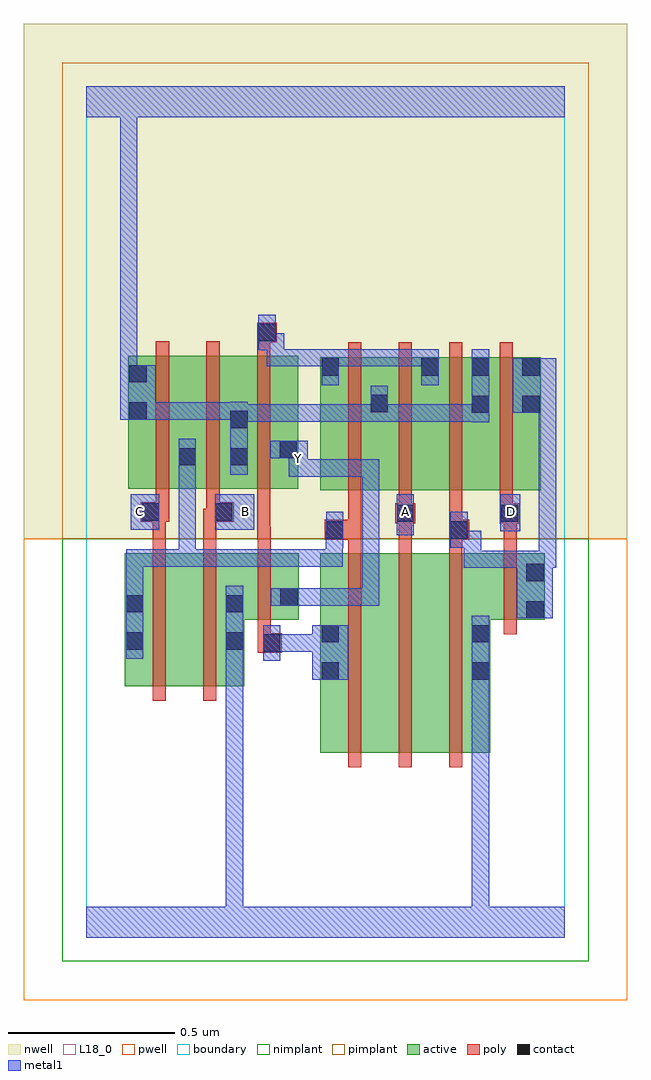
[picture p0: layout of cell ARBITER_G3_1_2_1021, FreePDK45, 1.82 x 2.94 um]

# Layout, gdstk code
import gdstk
lib = gdstk.Library(unit=1e-6, precision=1e-09)
def R(c, l, rs):  # rectangles x0, y0, x1, y1
    for r in rs: c.add(gdstk.rectangle(r[:2], r[2:], *l))
def A(c, l, x, y, w, h, nx, ny, dx, dy):  # array of equal rectangles
    R(c, l, [(x+i*dx, y+j*dy, x+i*dx+w, y+j*dy+h) for i in range(nx) for j in range(ny)])
active = (1, 0)
pwell = (2, 0)
nwell = (3, 0)
nimplant = (4, 0)
pimplant = (5, 0)
poly = (9, 0)
contact = (10, 0)
metal1 = (11, 0)
L18_0 = (18, 0)
boundary = (235, 0)

arbiter_g3_1_2_1021 = lib.new_cell('ARBITER_G3_1_2_1021')
A(arbiter_g3_1_2_1021, active, 0.852, 1.346, 0.212, 0.4, 3, 1, 0.152, 0)
R(arbiter_g3_1_2_1021, active, [(0.704,0.556,0.764,1.156), (0.704,0.556,0.884,1.156), (0.884,0.556,1.036,1.156), (1.036,0.556,1.216,1.156), (1.156,0.556,1.216,1.156), (0.116,0.756,0.176,1.156), (0.116,0.756,0.296,1.156), (0.296,0.756,0.476,1.156), (0.416,0.756,0.476,1.156), (0.416,0.956,0.64,1.156), (0.58,0.956,0.64,1.156), (1.156,0.956,1.38,1.156), (1.32,0.956,1.38,1.156), (0.704,1.346,0.912,1.746), (1.308,1.346,1.368,1.746), (0.126,1.35,0.186,1.75), (0.126,1.35,0.334,1.75), (0.274,1.35,0.49,1.75), (0.43,1.35,0.638,1.75), (0.578,1.35,0.638,1.644), (0.274,1.416,0.334,1.722), (0.43,1.416,0.49,1.644), (0.704,1.452,0.764,1.746), (1.004,1.452,1.064,1.746), (1.156,1.574,1.216,1.746), (0.852,1.576,0.912,1.644)])
R(arbiter_g3_1_2_1021, pwell, [(-0.188,-0.188,1.628,1.2)])
R(arbiter_g3_1_2_1021, nwell, [(-0.188,1.2,1.628,2.748)])
R(arbiter_g3_1_2_1021, nimplant, [(-0.072,-0.072,1.512,1.2)])
R(arbiter_g3_1_2_1021, pimplant, [(-0.072,1.2,1.512,2.632)])
A(arbiter_g3_1_2_1021, poly, 0.788, 0.512, 0.04, 0.688, 3, 1, 0.152, 0)
A(arbiter_g3_1_2_1021, poly, 0.788, 1.302, 0.04, 0.488, 4, 1, 0.152, 0)
A(arbiter_g3_1_2_1021, poly, 0.21, 1.306, 0.04, 0.488, 3, 1, 0.152, 0)
R(arbiter_g3_1_2_1021, poly, [(0.2,0.712,0.24,1.2), (0.352,0.712,0.392,1.2), (0.516,0.856,0.588,0.916), (0.516,0.876,0.556,0.952), (0.516,0.912,0.556,1.2), (1.256,0.912,1.296,1.2), (0.2,1.16,0.24,1.29), (0.352,1.16,0.392,1.29), (0.516,1.16,0.556,1.236), (0.788,1.16,0.828,1.236), (0.94,1.16,0.98,1.286), (1.092,1.16,1.132,1.236), (1.256,1.16,1.296,1.286), (0.514,1.196,0.554,1.236), (0.514,1.196,0.554,1.236), (0.514,1.196,0.554,1.346), (0.514,1.196,0.556,1.236), (0.718,1.196,0.828,1.256), (1.092,1.196,1.152,1.256), (0.788,1.216,0.828,1.256), (0.788,1.216,0.828,1.256), (0.788,1.216,0.828,1.342), (1.092,1.216,1.132,1.256), (1.092,1.216,1.132,1.256), (1.092,1.216,1.132,1.342), (0.93,1.246,0.99,1.306), (0.94,1.246,0.98,1.286), (0.94,1.246,0.98,1.286), (1.244,1.246,1.304,1.306), (1.256,1.246,1.296,1.286), (1.256,1.246,1.296,1.286), (0.164,1.25,0.25,1.31), (0.2,1.25,0.24,1.29), (0.2,1.25,0.24,1.29), (0.352,1.25,0.402,1.29), (0.362,1.25,0.402,1.29), (0.362,1.25,0.444,1.31), (0.94,1.266,0.98,1.342), (1.244,1.266,1.284,1.342), (0.21,1.27,0.25,1.346), (0.362,1.27,0.402,1.346), (0.514,1.754,0.554,1.83), (0.514,1.79,0.574,1.85)])
A(arbiter_g3_1_2_1021, contact, 1.008, 1.69, 0.052, 0.052, 3, 1, 0.152, 0)
R(arbiter_g3_1_2_1021, contact, [(0.708,0.776,0.76,0.828), (1.16,0.776,1.212,0.828), (0.532,0.86,0.584,0.912), (0.12,0.866,0.172,0.918), (0.42,0.866,0.472,0.918), (0.708,0.888,0.76,0.94), (1.16,0.888,1.212,0.94), (1.324,0.96,1.376,1.012), (0.12,0.978,0.172,1.03), (0.42,0.978,0.472,1.03), (0.584,0.998,0.636,1.05), (1.324,1.072,1.376,1.124), (0.722,1.2,0.774,1.252), (1.096,1.2,1.148,1.252), (0.934,1.25,0.986,1.302), (1.248,1.25,1.3,1.302), (0.168,1.254,0.22,1.306), (0.388,1.254,0.44,1.306), (0.278,1.42,0.33,1.472), (0.434,1.42,0.486,1.472), (0.582,1.442,0.634,1.494), (0.434,1.532,0.486,1.584), (0.13,1.558,0.182,1.61), (1.16,1.578,1.212,1.63), (1.312,1.578,1.364,1.63), (0.856,1.58,0.908,1.632), (0.13,1.67,0.182,1.722), (0.708,1.69,0.76,1.742), (0.518,1.794,0.57,1.846)])
A(arbiter_g3_1_2_1021, metal1, 0.724, 1.386, 0.052, 0.052, 1, 3, 0, 0.166)
R(arbiter_g3_1_2_1021, metal1, [(0,0,1.44,0.092), (0.42,0.04,0.472,0.092), (0.42,0.04,0.472,0.092), (0.42,0.04,0.472,0.092), (0.42,0.04,0.472,0.092), (0.42,0.04,0.472,0.092), (0.42,0.04,0.472,0.092), (0.42,0.04,0.472,0.092), (0.42,0.04,0.472,0.092), (0.42,0.04,0.472,0.092), (0.42,0.04,0.472,0.092), (0.42,0.04,0.472,0.092), (0.42,0.04,0.472,0.092), (0.42,0.04,0.472,0.89), (1.16,0.04,1.212,0.8), (1.16,0.748,1.212,0.8), (1.16,0.748,1.212,0.8), (1.16,0.748,1.212,0.8), (1.16,0.748,1.212,0.8), (1.16,0.748,1.212,0.8), (1.16,0.748,1.212,0.8), (1.16,0.748,1.212,0.8), (1.16,0.748,1.212,0.8), (1.16,0.748,1.212,0.968), (0.68,0.776,0.788,0.94), (0.532,0.832,0.584,0.94), (0.12,0.838,0.172,1.058), (0.42,0.838,0.472,1.058), (0.532,0.86,0.664,0.912), (0.612,0.86,0.664,0.912), (0.612,0.86,0.732,0.912), (1.296,0.96,1.404,1.124), (0.556,0.998,0.664,1.05), (0.612,0.998,0.772,1.05), (0.72,0.998,0.772,1.05), (0.72,0.998,0.798,1.05), (0.746,0.998,0.798,1.05), (0.746,0.998,0.882,1.05), (0.83,0.998,0.882,1.05), (0.83,0.998,0.882,1.05), (0.83,0.998,0.882,1.05), (0.83,0.998,0.882,1.438), (0.12,1.006,0.172,1.168), (1.352,1.072,1.404,1.164), (1.136,1.112,1.404,1.164), (1.136,1.112,1.188,1.224), (1.352,1.112,1.404,1.164), (1.352,1.112,1.404,1.164), (1.352,1.112,1.414,1.164), (1.362,1.112,1.414,1.63), (0.12,1.116,0.172,1.168), (0.12,1.116,0.172,1.168), (0.12,1.116,0.172,1.168), (0.12,1.116,0.33,1.168), (0.278,1.116,0.33,1.168), (0.278,1.116,0.33,1.168), (0.278,1.116,0.33,1.168), (0.278,1.116,0.33,1.168), (0.278,1.116,0.33,1.168), (0.278,1.116,0.486,1.168), (0.278,1.116,0.33,1.444), (0.434,1.116,0.486,1.168), (0.434,1.116,0.486,1.168), (0.434,1.116,0.486,1.168), (0.434,1.116,0.596,1.168), (0.544,1.116,0.596,1.168), (0.544,1.116,0.772,1.168), (0.72,1.116,0.772,1.224), (0.72,1.172,0.774,1.224), (0.722,1.172,0.774,1.28), (1.096,1.172,1.188,1.224), (1.096,1.172,1.148,1.28), (0.934,1.21,0.986,1.334), (1.246,1.222,1.306,1.334), (0.134,1.226,0.22,1.334), (0.388,1.226,0.506,1.334), (0.61,1.386,0.666,1.494), (0.614,1.386,0.694,1.438), (0.642,1.386,0.694,1.438), (0.642,1.386,0.776,1.438), (0.724,1.386,0.882,1.438), (0.83,1.386,0.882,1.438), (0.278,1.392,0.33,1.5), (0.434,1.392,0.486,1.612), (0.554,1.442,0.662,1.494), (0.61,1.442,0.662,1.494), (1.16,1.55,1.212,1.77), (0.434,1.552,0.486,1.604), (0.434,1.552,0.486,1.604), (0.434,1.552,0.596,1.604), (0.544,1.552,0.596,1.604), (0.544,1.552,0.772,1.604), (0.72,1.552,0.772,1.604), (0.72,1.552,0.772,1.604), (0.72,1.552,0.772,1.604), (0.72,1.552,0.776,1.604), (0.724,1.552,0.908,1.604), (0.856,1.552,1.018,1.604), (0.856,1.552,0.908,1.66), (0.966,1.552,1.018,1.604), (0.966,1.552,1.018,1.604), (0.966,1.552,1.018,1.604), (0.966,1.552,1.128,1.604), (1.076,1.552,1.128,1.604), (1.076,1.552,1.212,1.604), (0.102,1.558,0.21,1.722), (0.158,1.558,0.21,1.61), (0.158,1.558,0.21,1.61), (0.158,1.558,0.21,1.61), (0.158,1.558,0.21,1.61), (0.158,1.558,0.33,1.61), (0.278,1.558,0.33,1.61), (0.278,1.558,0.33,1.61), (0.278,1.558,0.33,1.61), (0.278,1.558,0.486,1.61), (1.284,1.578,1.414,1.742), (1.362,1.578,1.414,1.63), (1.362,1.578,1.414,1.63), (0.708,1.662,0.76,1.77), (1.008,1.662,1.06,1.77), (0.102,1.67,0.154,1.722), (0.102,1.67,0.154,1.722), (0.102,1.67,0.154,2.52), (0.544,1.718,0.596,1.77), (0.544,1.718,0.76,1.77), (0.544,1.718,0.596,1.818), (0.708,1.718,0.776,1.77), (0.724,1.718,0.908,1.77), (0.856,1.718,0.908,1.77), (0.856,1.718,0.908,1.77), (0.856,1.718,0.908,1.77), (0.856,1.718,1.06,1.77), (0.518,1.766,0.57,1.874), (0.518,1.766,0.596,1.818), (0.544,1.766,0.596,1.818), (0,2.468,1.44,2.56), (0.102,2.468,0.154,2.52), (0.102,2.468,0.154,2.52), (0.102,2.468,0.154,2.52), (0.102,2.468,0.154,2.52), (0.102,2.468,0.154,2.52), (0.102,2.468,0.154,2.52), (0.102,2.468,0.154,2.52), (0.102,2.468,0.154,2.52), (0.102,2.468,0.154,2.52), (0.102,2.468,0.154,2.52), (0.102,2.468,0.154,2.52), (0.102,2.468,0.154,2.52), (0.102,2.468,0.154,2.52), (0.102,2.468,0.154,2.52), (0.102,2.468,0.154,2.52), (0.102,2.468,0.154,2.52)])
R(arbiter_g3_1_2_1021, L18_0, [(0,0,1.44,0.092), (0.42,0.04,0.472,0.092), (0.42,0.04,0.472,0.092), (0.42,0.04,0.472,0.092), (0.42,0.04,0.472,0.092), (0.42,0.04,0.472,0.092), (0.42,0.04,0.472,0.092), (0.42,0.04,0.472,0.092), (0.42,0.04,0.472,0.092), (0.42,0.04,0.472,0.092), (0.42,0.04,0.472,0.092), (0.42,0.04,0.472,0.092), (0.42,0.04,0.472,0.092), (0.42,0.04,0.472,0.89), (1.16,0.04,1.212,0.8), (1.16,0.748,1.212,0.8), (1.16,0.748,1.212,0.8), (1.16,0.748,1.212,0.8), (1.16,0.748,1.212,0.8), (1.16,0.748,1.212,0.8), (1.16,0.748,1.212,0.8), (1.16,0.748,1.212,0.8), (1.16,0.748,1.212,0.8), (1.16,0.748,1.212,0.968), (0.42,0.838,0.472,1.058), (0.556,0.998,0.664,1.05), (0.612,0.998,0.772,1.05), (0.72,0.998,0.772,1.05), (0.72,0.998,0.798,1.05), (0.746,0.998,0.798,1.05), (0.746,0.998,0.882,1.05), (0.83,0.998,0.882,1.05), (0.83,0.998,0.882,1.05), (0.83,0.998,0.882,1.05), (0.83,0.998,0.882,1.438), (0.934,1.21,0.986,1.334), (1.246,1.222,1.306,1.334), (0.134,1.226,0.22,1.334), (0.388,1.226,0.506,1.334), (0.134,1.254,0.186,1.306), (0.454,1.254,0.506,1.306), (0.934,1.254,0.986,1.306), (1.254,1.254,1.306,1.306), (0.61,1.386,0.666,1.494), (0.614,1.386,0.694,1.438), (0.642,1.386,0.694,1.438), (0.642,1.386,0.776,1.438), (0.724,1.386,0.776,1.438), (0.724,1.386,0.882,1.438), (0.83,1.386,0.882,1.438), (0.434,1.392,0.486,1.612), (0.614,1.414,0.666,1.466), (0.554,1.442,0.662,1.494), (0.61,1.442,0.662,1.494), (1.16,1.55,1.212,1.77), (0.434,1.552,0.486,1.604), (0.434,1.552,0.486,1.604), (0.434,1.552,0.596,1.604), (0.544,1.552,0.596,1.604), (0.544,1.552,0.772,1.604), (0.72,1.552,0.772,1.604), (0.72,1.552,0.772,1.604), (0.72,1.552,0.772,1.604), (0.72,1.552,0.776,1.604), (0.724,1.552,0.776,1.604), (0.724,1.552,0.908,1.604), (0.856,1.552,1.018,1.604), (0.856,1.552,0.908,1.66), (0.966,1.552,1.018,1.604), (0.966,1.552,1.018,1.604), (0.966,1.552,1.018,1.604), (0.966,1.552,1.128,1.604), (1.076,1.552,1.128,1.604), (1.076,1.552,1.212,1.604), (0.102,1.558,0.21,1.722), (0.158,1.558,0.21,1.61), (0.158,1.558,0.21,1.61), (0.158,1.558,0.21,1.61), (0.158,1.558,0.21,1.61), (0.158,1.558,0.33,1.61), (0.278,1.558,0.33,1.61), (0.278,1.558,0.33,1.61), (0.278,1.558,0.33,1.61), (0.278,1.558,0.486,1.61), (0.102,1.67,0.154,1.722), (0.102,1.67,0.154,1.722), (0.102,1.67,0.154,2.52), (0,2.468,1.44,2.56), (0.102,2.468,0.154,2.52), (0.102,2.468,0.154,2.52), (0.102,2.468,0.154,2.52), (0.102,2.468,0.154,2.52), (0.102,2.468,0.154,2.52), (0.102,2.468,0.154,2.52), (0.102,2.468,0.154,2.52), (0.102,2.468,0.154,2.52), (0.102,2.468,0.154,2.52), (0.102,2.468,0.154,2.52), (0.102,2.468,0.154,2.52), (0.102,2.468,0.154,2.52), (0.102,2.468,0.154,2.52), (0.102,2.468,0.154,2.52), (0.102,2.468,0.154,2.52), (0.102,2.468,0.154,2.52)])
R(arbiter_g3_1_2_1021, boundary, [(0,0,1.44,2.56)])
arbiter_g3_1_2_1021.add(gdstk.Label('A', (0.96,1.28), layer=11, texttype=0))
arbiter_g3_1_2_1021.add(gdstk.Label('B', (0.48,1.28), layer=11, texttype=0))
arbiter_g3_1_2_1021.add(gdstk.Label('C', (0.16,1.28), layer=11, texttype=0))
arbiter_g3_1_2_1021.add(gdstk.Label('D', (1.28,1.28), layer=11, texttype=0))
arbiter_g3_1_2_1021.add(gdstk.Label('Y', (0.64,1.44), layer=11, texttype=0))

lib.write_gds('ARBITER_G3_1_2_1021.gds')
